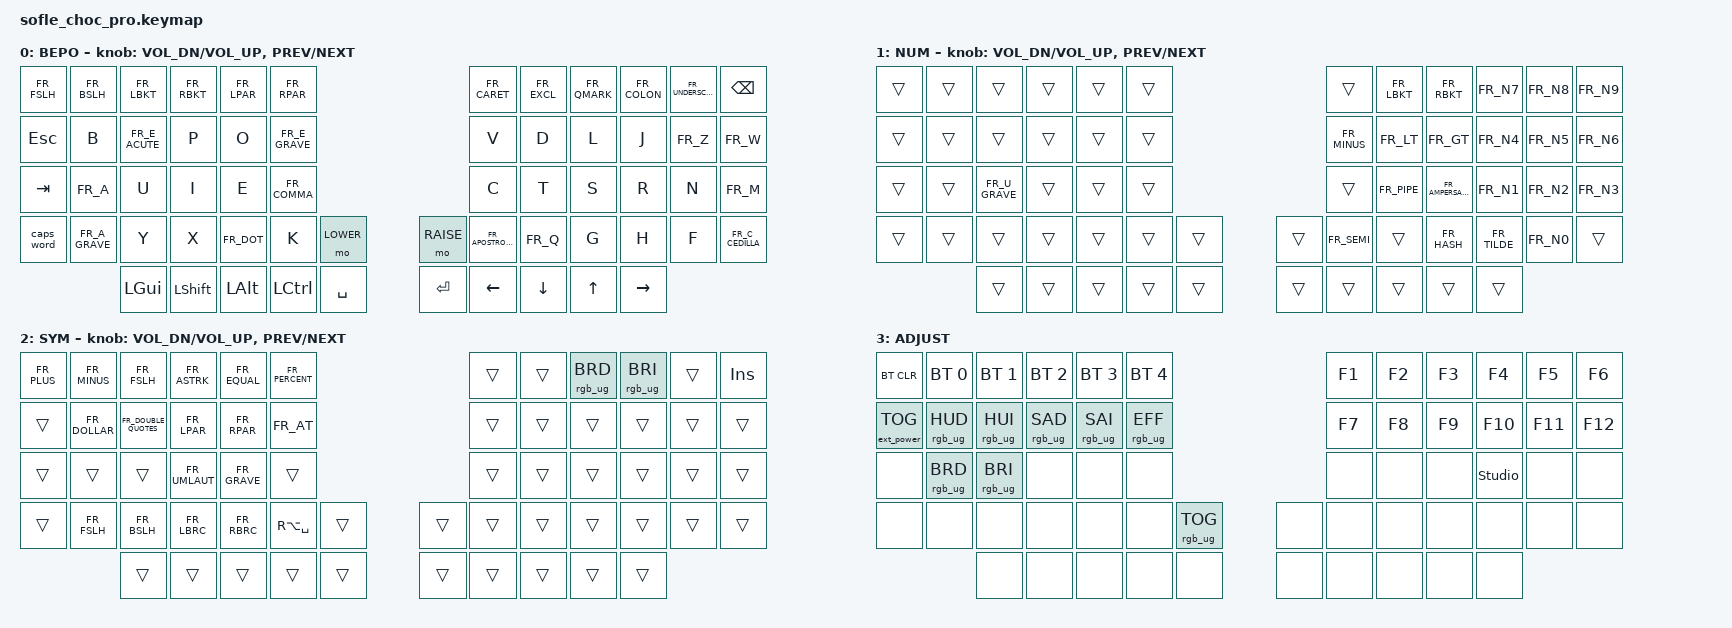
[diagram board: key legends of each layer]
/*
* Copyright (c) 2020 The ZMK Contributors
*
* SPDX-License-Identifier: MIT
*/

#include <behaviors.dtsi>
#include <dt-bindings/zmk/keys.h>
#include <dt-bindings/zmk/bt.h>
#include <dt-bindings/zmk/rgb.h>
#include <dt-bindings/zmk/ext_power.h>
#include <locale/keys_fr.h>

#define BASE 0
#define LOWER 1
#define RAISE 2
#define ADJUST 3

/ {

  // Activate ADJUST layer by pressing raise and lower
  conditional_layers {
    compatible = "zmk,conditional-layers";
    adjust_layer {
      if-layers = <LOWER RAISE>;
      then-layer = <ADJUST>;
    };
  };

  keymap {
    compatible = "zmk,keymap";

    default_layer {
      display-name = "BEPO";
      // BÉPO letters mapped over the French-PC (AZERTY) HID codes via
      // zmk-locales' FR_* keycodes.
      // ------------------------------------------------------------------------------------------------------------
      // |  /   |  \   |  [   |  ]   |  (   |  )   |                    |   ^  |   !   |   ?   |  :   |  _    | BSPC |
      // | ESC  |  B   |  É   |  P   |  O   |  È   |                    |   V  |  D    |  L    |  J    |  Z    |  W   |
      // |  TAB  |  A   |  U   |  I   |  E   |  ,   |                    |   C  |  T    |  S    |  R    |  N    |  M   |
      // | CAPSWD|  À   |  Y   |  X   |  .   |  K   | LOWER |  | RAISE  |   '  |  Q    |  G    |  H    |  F    |  Ç   |
      //               | GUI  | SHFT | ALT   |  CTRL |  SPC  |  |  ENTER   | LEFT | DOWN | UP   | RIGHT|
      // Letters follow BÉPO 1.1 order; row 1 keeps custom punctuation rather
      // than BÉPO's own row-1 symbols. Circumflex dead-key (row 1) composes
      // ê/â/î/ô/û with the following vowel — true single-key ê needs a real
      // BÉPO OS input source, not available over AZERTY/French-PC.
      // LOWER/RAISE live on the two extra row-4 keys below each screen.
      // : and _ sit on the top-right — neither is derivable via Shift from
      // anything already on BASE, and both are constant in Python.
      // caps_word (bottom-left) types one word capitalized then
      // auto-releases Shift.
      // Left thumb ordered by modifier frequency, closest reach first:
      // GUI SHIFT ALT CTRL — GUI is barely used in custom shortcuts, CTRL
      // and ALT are the heaviest. Right thumb carries a dedicated always-on
      // arrow cluster instead of a mirrored copy of the modifiers, so any
      // Modifier+Arrow combo is a plain two-contact chord (one thumb per
      // hand) with no layer-hold involved.
      bindings = <
        &kp FR_FSLH &kp FR_BSLH    &kp FR_LBKT &kp FR_RBKT &kp FR_LPAR &kp FR_RPAR                       &kp FR_CARET &kp FR_EXCL &kp FR_QMARK &kp FR_COLON &kp FR_UNDERSCORE &kp BSPC
        &kp ESC     &kp B          &kp FR_E_ACUTE &kp P    &kp O       &kp FR_E_GRAVE                    &kp V        &kp D    &kp L     &kp J     &kp FR_Z  &kp FR_W
        &kp TAB     &kp FR_A       &kp U       &kp I       &kp E       &kp FR_COMMA                      &kp C        &kp T    &kp S     &kp R     &kp N     &kp FR_M
        &caps_word  &kp FR_A_GRAVE &kp Y       &kp X       &kp FR_DOT  &kp K       &mo LOWER  &mo RAISE  &kp FR_APOSTROPHE &kp FR_Q &kp G &kp H     &kp F     &kp FR_C_CEDILLA
        &kp LGUI &kp LSHFT &kp LALT &kp LCTRL &kp SPACE     &kp RET &kp LEFT &kp DOWN &kp UP &kp RIGHT
      >;

      sensor-bindings = <&inc_dec_kp C_VOL_DN C_VOL_UP &inc_dec_kp C_PREV C_NEXT>;
    };

    lower_layer {
      display-name = "NUM";
      // Ported from Voyager layer 1 (numbers row + symbols).
      // ------------------------------------------------------------------------------------------------------------
      // |      |      |  [   |  ]   |  7   |  8   |                    |      |  [   |  ]   |  7   |  8   |  9   |
      // |      |      |      |      |      |      |                    |  -   |  <   |  >   |  4   |  5   |  6   |
      // |      |      |  Ù   |      |      |      |                    |      |  |   |  &   |  1   |  2   |  3   |
      // |      |      |      |      |      |      |       |  |         |  ;   |      |  #   |  ~   |  0   |      |
      //               |      |      |      |      |       |  |         |      |      |      |      |
      // ^, ç, and : live on BASE directly.
      bindings = <
        &trans &trans &trans     &trans &trans &trans                                     &trans       &kp FR_LBKT &kp FR_RBKT &kp FR_N7    &kp FR_N8    &kp FR_N9
        &trans &trans &trans     &trans &trans &trans                                     &kp FR_MINUS &kp FR_LT   &kp FR_GT   &kp FR_N4    &kp FR_N5    &kp FR_N6
        &trans &trans &kp FR_U_GRAVE &trans &trans &trans                                 &trans           &kp FR_PIPE &kp FR_AMPERSAND &kp FR_N1 &kp FR_N2 &kp FR_N3
        &trans &trans &trans     &trans &trans &trans     &trans &trans                   &kp FR_SEMI &trans &kp FR_HASH &kp FR_TILDE &kp FR_N0 &trans
        &trans &trans      &trans    &trans     &trans &trans  &trans    &trans   &trans    &trans
      >;

      sensor-bindings = <&inc_dec_kp C_VOL_DN C_VOL_UP &inc_dec_kp C_PREV C_NEXT>;
    };

    raise_layer {
      display-name = "SYM";
      // Ported from Voyager layer 2 (extra punctuation + RGB brightness).
      // ------------------------------------------------------------------------------------------------------------
      // |  +   |  -   |  /   |  *   |  =   |  %   |                    |      |      | BRI-  | BRI+ |      | INS  |
      // |      |  $   |  "   |  (   |  )   |  @   |                    |      |      |       |      |      |      |
      // |      |      |      |  ¨   |  `   |      |                    |      |      |       |      |      |      |
      // |      |  /   |  \   |  {   |  }   | RALT+SPC |     |  |       |      |      |       |      |      |      |
      //               |      |      |      |      |         |  |      |      |      |       |      |
      // ', _, and the arrow cluster live on BASE directly.
      bindings = <
        &kp FR_PLUS &kp FR_MINUS &kp FR_FSLH &kp FR_ASTRK &kp FR_EQUAL &kp FR_PERCENT                                          &trans &trans &rgb_ug RGB_BRD &rgb_ug RGB_BRI &trans &kp INS
        &trans      &kp FR_DOLLAR &kp FR_DOUBLE_QUOTES &kp FR_LPAR &kp FR_RPAR &kp FR_AT                                       &trans &trans &trans          &trans          &trans &trans
        &trans      &trans       &trans &kp FR_UMLAUT &kp FR_GRAVE &trans                                          &trans &trans &trans          &trans          &trans &trans
        &trans      &kp FR_FSLH  &kp FR_BSLH &kp FR_LBRC &kp FR_RBRC &kp RA(SPACE)     &trans &trans                          &trans &trans &trans          &trans          &trans &trans
                                  &trans      &trans      &trans      &trans            &trans &trans                        &trans &trans &trans &trans
      >;

      sensor-bindings = <&inc_dec_kp C_VOL_DN C_VOL_UP &inc_dec_kp C_PREV C_NEXT>;
    };

    adjust_layer {
      // ----------------------------------------------------------------------------------------------------------------------------
      // | BTCLR  |  BT1    |  BT2    |   BT3   |   BT4   |   BT5   |                  |  F1  |  F2  |  F3   |  F4  |  F5   |  F6   |
      // | EXTPWR | RGB_HUD | RGB_HUI | RGB_SAD | RGB_SAI | RGB_EFF |                  |  F7  |  F8  |  F9   | F10  | F11   | F12   |
      // |        | RGB_BRD | RGB_BRI |         |         |         |                  |      |      |       | STUD |       |       |
      // |        |         |         |         |         |         | RGB_TOG | |      |      |      |       |      |       |       |
      //                    |         |         |         |         |         | |      |      |      |       |      |
      display-name = "ADJUST";
      bindings = <
        &bt BT_CLR        &bt BT_SEL 0    &bt BT_SEL 1    &bt BT_SEL 2    &bt BT_SEL 3    &bt BT_SEL 4                            &kp F1 &kp F2 &kp F3 &kp F4 &kp F5 &kp F6
        &ext_power EP_TOG &rgb_ug RGB_HUD &rgb_ug RGB_HUI &rgb_ug RGB_SAD &rgb_ug RGB_SAI &rgb_ug RGB_EFF                         &kp F7 &kp F8 &kp F9 &kp F10 &kp F11 &kp F12
        &none             &rgb_ug RGB_BRD &rgb_ug RGB_BRI &none           &none           &none                                   &none &none &none &studio_unlock &none &none
        &none             &none           &none           &none           &none           &none            &rgb_ug RGB_TOG &none  &none &none &none &none &none &none
        &none           &none           &none           &none            &none           &none  &none &none &none &none
      >;
    };
  };
};
